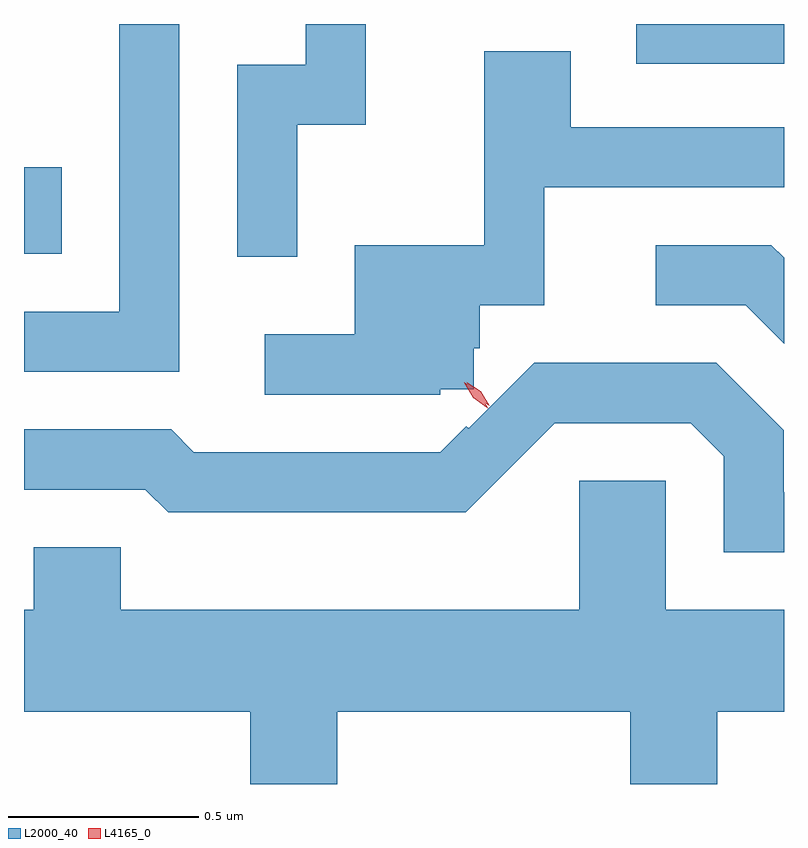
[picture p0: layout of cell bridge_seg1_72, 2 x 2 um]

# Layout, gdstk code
import gdstk
lib = gdstk.Library(unit=1e-6, precision=1e-09)
def R(c, l, rs):  # rectangles x0, y0, x1, y1
    for r in rs: c.add(gdstk.rectangle(r[:2], r[2:], *l))
def P(c, l, *ps):  # polygons
    for p in ps: c.add(gdstk.Polygon(p, *l))
L2000_40 = (2000, 40)
L4165_0 = (4165, 0)

bridge_seg1_72 = lib.new_cell('bridge_seg1_72')
R(bridge_seg1_72, L2000_40, [(1894.15,849.721,1894.249,849.949), (1895.761,850.221,1896.15,850.326)])
P(bridge_seg1_72, L2000_40, [(1894.869,850.061),(1895.049,850.061),(1895.049,850.326),(1894.891,850.326),(1894.891,850.219),(1894.711,850.219),(1894.711,849.713),(1894.869,849.713)],
  [(1894.559,850.326),(1894.401,850.326),(1894.401,849.569),(1894.15,849.569),(1894.15,849.411),(1894.559,849.411)],
  [(1895.246,849.365),(1895.334,849.365),(1895.334,849.473),(1895.349,849.473),(1895.349,849.586),(1895.519,849.586),(1895.519,849.896),(1896.15,849.896),(1896.15,850.054),(1895.589,850.054),(1895.589,850.254),(1895.361,850.254),(1895.361,849.744),(1895.021,849.744),(1895.021,849.509),(1894.783,849.509),(1894.783,849.351),(1895.246,849.351)],
  [(1896.15,849.711),(1896.117,849.744),(1895.813,849.744),(1895.813,849.586),(1896.049,849.586),(1896.15,849.485)],
  [(1896.15,849.094),(1896.149,849.094),(1896.149,849.257),(1895.972,849.434),(1895.493,849.434),(1895.32,849.262),(1895.314,849.267),(1895.246,849.199),(1894.597,849.199),(1894.537,849.259),(1894.15,849.259),(1894.15,849.101),(1894.469,849.101),(1894.529,849.041),(1895.312,849.041),(1895.547,849.276),(1895.904,849.276),(1895.991,849.189),(1895.991,848.936),(1896.15,848.936)],
  [(1894.974,848.516),(1895.746,848.516),(1895.746,848.326),(1895.974,848.326),(1895.974,848.516),(1896.15,848.516),(1896.15,848.784),(1895.839,848.784),(1895.839,849.124),(1895.611,849.124),(1895.611,848.784),(1894.404,848.784),(1894.404,848.949),(1894.176,848.949),(1894.176,848.784),(1894.15,848.784),(1894.15,848.516),(1894.746,848.516),(1894.746,848.326),(1894.974,848.326)])
P(bridge_seg1_72, L4165_0, [(1895.37,849.315),(1895.332,849.342),(1895.308,849.382),(1895.308,849.383),(1895.309,849.383),(1895.347,849.355),(1895.37,849.316),(1895.37,849.315)],
  [(1895.374,849.322),(1895.337,849.346),(1895.315,849.383),(1895.315,849.383),(1895.315,849.383),(1895.352,849.36),(1895.374,849.323),(1895.374,849.322)])

lib.write_gds('bridge_seg1_72.gds')
